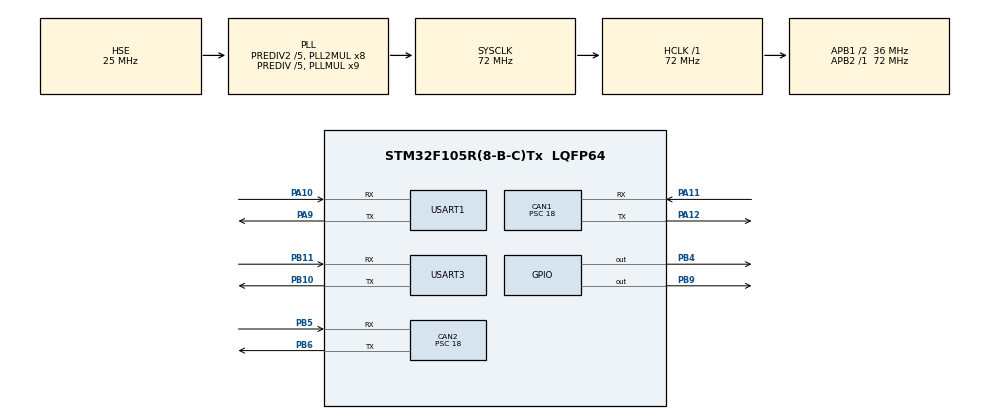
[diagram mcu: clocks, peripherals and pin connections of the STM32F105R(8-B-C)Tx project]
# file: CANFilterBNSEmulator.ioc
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CAN1.BS1=CAN_BS1_16TQ
CAN1.BS2=CAN_BS2_7TQ
CAN1.CalculateBaudRate=83333
CAN1.CalculateTimeBit=12000
CAN1.CalculateTimeQuantum=500.0
CAN1.Prescaler=18
CAN2.BS1=CAN_BS1_16TQ
CAN2.BS2=CAN_BS2_7TQ
CAN2.CalculateBaudRate=83333
CAN2.CalculateTimeBit=12000
CAN2.CalculateTimeQuantum=500.0
CAN2.Prescaler=18
Mcu.Family=STM32F1
Mcu.Name=STM32F105R(8-B-C)Tx
Mcu.Package=LQFP64
NVIC.PriorityGroup=NVIC_PRIORITYGROUP_0
PA10.Mode=Asynchronous
PA10.Signal=USART1_RX
PA11.GPIO_PuPd=GPIO_PULLUP
PA11.Mode=CAN_Activate
PA11.Signal=CAN1_RX
PA12.Mode=CAN_Activate
PA12.Signal=CAN1_TX
PA13.Mode=Serial_Wire
PA13.Signal=SYS_JTMS-SWDIO
PA14.Mode=Serial_Wire
PA14.Signal=SYS_JTCK-SWCLK
PA9.Mode=Asynchronous
PA9.Signal=USART1_TX
PB10.Mode=Asynchronous
PB10.Signal=USART3_TX
PB11.Mode=Asynchronous
PB11.Signal=USART3_RX
PB4.Signal=GPIO_Output
PB5.GPIO_PuPd=GPIO_PULLUP
PB5.Mode=CAN_Activate
PB5.Signal=CAN2_RX
PB6.Mode=CAN_Activate
PB6.Signal=CAN2_TX
PB9.Signal=GPIO_Output
PD0-OSC_IN.Mode=HSE-External-Oscillator
PD0-OSC_IN.Signal=RCC_OSC_IN
PD1-OSC_OUT.Mode=HSE-External-Oscillator
PD1-OSC_OUT.Signal=RCC_OSC_OUT
ProjectManager.HeapSize=0x200
ProjectManager.StackSize=0x400
ProjectManager.TargetToolchain=STM32CubeIDE
RCC.AHBFreq_Value=72000000
RCC.APB1CLKDivider=RCC_HCLK_DIV2
RCC.APB1Freq_Value=36000000
RCC.APB1TimFreq_Value=72000000
RCC.APB2Freq_Value=72000000
RCC.APB2TimFreq_Value=72000000
RCC.HCLKFreq_Value=72000000
RCC.HSEDivPLL=RCC_HSE_PREDIV_DIV5
RCC.HSE_VALUE=25000000
RCC.PLLMUL=RCC_PLL_MUL9
RCC.PLLSourceVirtual=RCC_PLLSOURCE_HSE
RCC.Prediv1Source=RCC_PREDIV1_SOURCE_PLL2
RCC.Prediv2=RCC_HSE_PREDIV2_DIV5
RCC.SYSCLKFreq_VALUE=72000000
RCC.SYSCLKSource=RCC_SYSCLKSOURCE_PLLCLK
RCC.USBFreq_Value=48000000
USART1.VirtualMode=VM_ASYNC
USART3.VirtualMode=VM_ASYNC
board=custom

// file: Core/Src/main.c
/* USER CODE BEGIN Header */
/**
  ******************************************************************************
  * @file           : main.c
  * @brief          : Main program body
  ******************************************************************************
  * @attention
  *
  * Copyright (c) 2024 STMicroelectronics.
  * All rights reserved.</center></h2>
  *
  * This software component is licensed by ST under BSD 3-Clause license,
  * the "License"; You may not use this file except in compliance with the
  * License. You may obtain a copy of the License at:
  *                        opensource.org/licenses/BSD-3-Clause
  *
  ******************************************************************************
  */
/* USER CODE END Header */
#include "main.h"

/* USER CODE BEGIN Includes */
#include <string.h>
#include "canloop.h"
/* USER CODE END Includes */

/* USER CODE BEGIN PD */

#define BOARD_VARIANT_BLACK         0
#define BOARD_VARIANT_BLUE          1
#define BOARD_VARIANT_GREEN         2
#define BOARD_VARIANT_SMALL_GREEN   3
#define UNKNOWN_BOARD               0xff

/* USER CODE END PD */

CAN_HandleTypeDef hcan1;
CAN_HandleTypeDef hcan2;

UART_HandleTypeDef huart1;
UART_HandleTypeDef huart3;

/* USER CODE BEGIN PV */
uint8_t                 board_variant = UNKNOWN_BOARD;
uint16_t                led_pin       = GPIO_PIN_NONE;
uint8_t                 usart         = 1;
uint32_t                usart3_gpio   = 0;
UART_HandleTypeDef*     huart         = &huart1;
/* USER CODE END PV */

void SystemClock_Config(void);
static void MX_GPIO_Init(void);
static void MX_CAN1_Init(void);
static void MX_CAN2_Init(void);
static void MX_USART3_UART_Init(void);
static void MX_USART1_UART_Init(void);

/* USER CODE BEGIN 0 */

//-------------------------------------------------------------------------
// BlackBoard:
// Optionally install an LED on PB4 (Labelled V8 on back of board)
// UART3 on PB10(TX) and PB11(RX)
// CAN1 requires clearing these (Because GD32F105)
//  CLEAR_BIT(hcan->Instance->MCR, CAN_MCR_SLEEP);
//  CLEAR_BIT(hcan->Instance->MCR, CAN_MCR_DBF);
// Power consumption: 54mA in sleep mode
//                    64mA when active
//-------------------------------------------------------------------------
// Blue board:
// UART3 on PC10(TX) and PC11(RX)
// Power consumption: 69mA in sleep mode (with FTDI attached)
//                    89mA when active   (with FTDI attached)
//-------------------------------------------------------------------------
// GreenBoard:
// UART1 on PA9(TX) and PA10(RX)
// Power consumption: 18mA in sleep mode
//                    38mA when active
//-------------------------------------------------------------------------
// SmallGreen:
// LED on PB9
// UART1 on PA9(TX) and PA10(RX)
// Power consumption: 18mA in sleep mode (Yes, same as large green)
//                    38mA when active
//-------------------------------------------------------------------------
uint32_t board_variants[4][3] = {
  {0x42319f17, 0x03323033, 0x3032334c}, // BOARD_VARIANT_BLACK - Verified CAN and USART3
  {0x05d8ff39, 0x38365548, 0x43213544}, // BOARD_VARIANT_BLUE - Verified CAN and USART3
  {0x05d8ff36, 0x37325553, 0x43184563}, // BOARD_VARIANT_GREEN - Verified CAN and USART1
  {0x05d5ff30, 0x38374250, 0x43024338}  // BOARD_VARIANT_SMALL_GREEN - Verified
};

char board_variant_names[4][16] = {
  "Black",
  "Blue",
  "Green",
  "Small Green"
};

uint8_t GetBoardVariant(void) {
  uint32_t unique_id[3];
  unique_id[0] = *(uint32_t*)(0x1FFFF7E8); // UID 31:0
  unique_id[1] = *(uint32_t*)(0x1FFFF7EC); // UID 63:32
  unique_id[2] = *(uint32_t*)(0x1FFFF7F0); // UID 95:64
  sendDebugMsg("UniqueID: %08x %08x %08x \r\n", unique_id[0], unique_id[1], unique_id[2]);

  for (uint8_t i = 0; i < sizeof(board_variants) / sizeof(board_variants[0]); i++) {
    if (unique_id[0] == board_variants[i][0] &&
        unique_id[1] == board_variants[i][1] &&
        unique_id[2] == board_variants[i][2]) {
      sendDebugMsg( "Board variant: %s\r\n", board_variant_names[i]);
      return i; // Return the matching variant index
    }
  }
  sendDebugMsg( "Unable to determine the board variant. Defaulting to %s settings.\r\n", board_variant_names[BOARD_VARIANT_SMALL_GREEN]);
  return BOARD_VARIANT_SMALL_GREEN;
}
/* USER CODE END 0 */

int main(void)
{

  /* USER CODE BEGIN 1 */

  board_variant = GetBoardVariant();
  switch (board_variant) {
    case BOARD_VARIANT_BLACK:
      usart         = 3;
      huart         = &huart3;
      usart3_gpio   = GPIOB_BASE;
      led_pin       = GPIO_PIN_4; // Must be installed by end user
      break;
    case BOARD_VARIANT_BLUE:
      usart         = 3;
      huart         = &huart3;
      usart3_gpio   = GPIOC_BASE;
      led_pin       = GPIO_PIN_NONE;
      break;
    case BOARD_VARIANT_GREEN:
      usart         = 1;
      huart         = &huart1;
      usart3_gpio   = 0;
      led_pin       = GPIO_PIN_NONE;
      break;
    case BOARD_VARIANT_SMALL_GREEN:
      usart         = 1;
      huart         = &huart1;
      usart3_gpio   = 0;
      led_pin       = GPIO_PIN_9; // Prepopulated by manufacturer
      break;
    default: // Defaults to same as SMALL GREEN if unknown
      usart         = 1;
      huart         = &huart1;
      usart3_gpio   = 0;
      led_pin       = GPIO_PIN_9;
      break;
  }

  /* USER CODE END 1 */

  /* MCU Configuration--------------------------------------------------------*/

  /* Reset of all peripherals, Initializes the Flash interface and the Systick. */
  HAL_Init();

  /* Configure the system clock */
  SystemClock_Config();

  /* Initialize all configured peripherals */
  MX_GPIO_Init();
  MX_USART1_UART_Init();
  MX_USART3_UART_Init();
  MX_CAN1_Init();
  MX_CAN2_Init();

  /* Infinite loop */
  /* USER CODE BEGIN WHILE */
  canloop();

  while (1)
  {
    /* USER CODE END WHILE */

  }
}

void SystemClock_Config(void)
{
  RCC_OscInitTypeDef RCC_OscInitStruct = {0};
  RCC_ClkInitTypeDef RCC_ClkInitStruct = {0};

  /** Initializes the RCC Oscillators according to the specified parameters
  * in the RCC_OscInitTypeDef structure.
  */
  RCC_OscInitStruct.OscillatorType = RCC_OSCILLATORTYPE_HSE;
  RCC_OscInitStruct.HSEState = RCC_HSE_ON;
  RCC_OscInitStruct.HSEPredivValue = RCC_HSE_PREDIV_DIV5;
  RCC_OscInitStruct.HSIState = RCC_HSI_ON;
  RCC_OscInitStruct.Prediv1Source = RCC_PREDIV1_SOURCE_PLL2;
  RCC_OscInitStruct.PLL.PLLState = RCC_PLL_ON;
  RCC_OscInitStruct.PLL.PLLSource = RCC_PLLSOURCE_HSE;
  RCC_OscInitStruct.PLL.PLLMUL = RCC_PLL_MUL9;
  RCC_OscInitStruct.PLL2.PLL2State = RCC_PLL2_ON;
  RCC_OscInitStruct.PLL2.PLL2MUL = RCC_PLL2_MUL8;
  RCC_OscInitStruct.PLL2.HSEPrediv2Value = RCC_HSE_PREDIV2_DIV5;
  if (HAL_RCC_OscConfig(&RCC_OscInitStruct) != HAL_OK)
  {
    Error_Handler();
  }

  /** Initializes the CPU, AHB and APB buses clocks
  */
  RCC_ClkInitStruct.ClockType = RCC_CLOCKTYPE_HCLK|RCC_CLOCKTYPE_SYSCLK
                              |RCC_CLOCKTYPE_PCLK1|RCC_CLOCKTYPE_PCLK2;
  RCC_ClkInitStruct.SYSCLKSource = RCC_SYSCLKSOURCE_PLLCLK;
  RCC_ClkInitStruct.AHBCLKDivider = RCC_SYSCLK_DIV1;
  RCC_ClkInitStruct.APB1CLKDivider = RCC_HCLK_DIV2;
  RCC_ClkInitStruct.APB2CLKDivider = RCC_HCLK_DIV1;

  if (HAL_RCC_ClockConfig(&RCC_ClkInitStruct, FLASH_LATENCY_2) != HAL_OK)
  {
    Error_Handler();
  }

  /** Configure the Systick interrupt time
  */
  __HAL_RCC_PLLI2S_ENABLE();
}

static void MX_CAN1_Init(void)
{

  /* USER CODE BEGIN CAN1_Init 0 */
  // Konfig taken from: https://www.elektronik-keller.de/index.php/projekte/stm32/29-stm32cubemx-stm32-can
  /* USER CODE END CAN1_Init 0 */

  /* USER CODE BEGIN CAN1_Init 1 */
  CAN_FilterTypeDef sFilterConfig;
  /* USER CODE END CAN1_Init 1 */
  hcan1.Instance = CAN1;
  hcan1.Init.Prescaler = 18;
  hcan1.Init.Mode = CAN_MODE_NORMAL;
  hcan1.Init.SyncJumpWidth = CAN_SJW_1TQ;
  hcan1.Init.TimeSeg1 = CAN_BS1_16TQ;
  hcan1.Init.TimeSeg2 = CAN_BS2_7TQ;
  hcan1.Init.TimeTriggeredMode = DISABLE;
  hcan1.Init.AutoBusOff = DISABLE;
  hcan1.Init.AutoWakeUp = DISABLE;
  hcan1.Init.AutoRetransmission = DISABLE;
  hcan1.Init.ReceiveFifoLocked = DISABLE;
  hcan1.Init.TransmitFifoPriority = DISABLE;
  if (HAL_CAN_Init(&hcan1) != HAL_OK)
  {
    sendDebugMsg("CAN1 Init failed\r\n");
    Error_Handler();
  } else {
    sendDebugMsg("CAN1 Init OK\r\n");
  }
  /* USER CODE BEGIN CAN1_Init 2 */
  sFilterConfig.FilterBank = 0;
  sFilterConfig.FilterMode = CAN_FILTERMODE_IDMASK;
  sFilterConfig.FilterScale = CAN_FILTERSCALE_32BIT;
  sFilterConfig.FilterIdHigh = 0x0000;
  sFilterConfig.FilterIdLow = 0x0000;
  sFilterConfig.FilterMaskIdHigh = 0x0000;
  sFilterConfig.FilterMaskIdLow = 0x0000;
  sFilterConfig.FilterFIFOAssignment = CAN_RX_FIFO0;
  sFilterConfig.FilterActivation = ENABLE;
  sFilterConfig.SlaveStartFilterBank = 14;

  if (HAL_CAN_ConfigFilter(&hcan1, &sFilterConfig) != HAL_OK) {
    /* Filter configuration Error */
    Error_Handler();
  }

  if (HAL_CAN_Start(&hcan1) != HAL_OK) {
    /* Start Error */
    Error_Handler();
  }
  /* USER CODE END CAN1_Init 2 */

}

static void MX_CAN2_Init(void)
{

  /* USER CODE BEGIN CAN2_Init 0 */
#if ENABLE_CAN_2 == 1
  CAN_FilterTypeDef sFilterConfig;
  /* USER CODE END CAN2_Init 0 */

  hcan2.Instance = CAN2;
  hcan2.Init.Prescaler = 18;
  hcan2.Init.Mode = CAN_MODE_NORMAL;
  hcan2.Init.SyncJumpWidth = CAN_SJW_1TQ;
  hcan2.Init.TimeSeg1 = CAN_BS1_16TQ;
  hcan2.Init.TimeSeg2 = CAN_BS2_7TQ;
  hcan2.Init.TimeTriggeredMode = DISABLE;
  hcan2.Init.AutoBusOff = DISABLE;
  hcan2.Init.AutoWakeUp = DISABLE;
  hcan2.Init.AutoRetransmission = DISABLE;
  hcan2.Init.ReceiveFifoLocked = DISABLE;
  hcan2.Init.TransmitFifoPriority = DISABLE;
  if (HAL_CAN_Init(&hcan2) != HAL_OK)
  {
    Error_Handler();
  }
  /* USER CODE BEGIN CAN2_Init 2 */
  sFilterConfig.FilterBank = 15;
  sFilterConfig.FilterMode = CAN_FILTERMODE_IDMASK;
  sFilterConfig.FilterScale = CAN_FILTERSCALE_32BIT;
  sFilterConfig.FilterIdHigh = 0x0000;
  sFilterConfig.FilterIdLow = 0x0000;
  sFilterConfig.FilterMaskIdHigh = 0x0000;
  sFilterConfig.FilterMaskIdLow = 0x0000;
  sFilterConfig.FilterFIFOAssignment = CAN_RX_FIFO1;
  sFilterConfig.FilterActivation = ENABLE;
  sFilterConfig.SlaveStartFilterBank = 15;

  if (HAL_CAN_ConfigFilter(&hcan2, &sFilterConfig) != HAL_OK) {
    /* Filter configuration Error */
    Error_Handler();
  }

  if (HAL_CAN_Start(&hcan2) != HAL_OK) {
    /* Start Error */
    Error_Handler();
  }
#endif
  /* USER CODE END CAN2_Init 2 */

}

static void MX_USART1_UART_Init(void)
{

  /* USER CODE BEGIN USART1_Init 0 */
  if (usart != 1) {
    return;
  }
  /* USER CODE END USART1_Init 0 */

  huart1.Instance = USART1;
  huart1.Init.BaudRate = 115200;
  huart1.Init.WordLength = UART_WORDLENGTH_8B;
  huart1.Init.StopBits = UART_STOPBITS_1;
  huart1.Init.Parity = UART_PARITY_NONE;
  huart1.Init.Mode = UART_MODE_TX_RX;
  huart1.Init.HwFlowCtl = UART_HWCONTROL_NONE;
  huart1.Init.OverSampling = UART_OVERSAMPLING_16;
  if (HAL_UART_Init(&huart1) != HAL_OK)
  {
    Error_Handler();
  }

}

static void MX_USART3_UART_Init(void)
{

  /* USER CODE BEGIN USART3_Init 0 */
  if (usart != 3) {
    return;
  }
  /* USER CODE END USART3_Init 0 */

  huart3.Instance = USART3;
  huart3.Init.BaudRate = 115200;
  huart3.Init.WordLength = UART_WORDLENGTH_8B;
  huart3.Init.StopBits = UART_STOPBITS_1;
  huart3.Init.Parity = UART_PARITY_NONE;
  huart3.Init.Mode = UART_MODE_TX_RX;
  huart3.Init.HwFlowCtl = UART_HWCONTROL_NONE;
  huart3.Init.OverSampling = UART_OVERSAMPLING_16;
  if (HAL_UART_Init(&huart3) != HAL_OK)
  {
    Error_Handler();
  }

}

static void MX_GPIO_Init(void)
{
  GPIO_InitTypeDef GPIO_InitStruct = {0};

  /* GPIO Ports Clock Enable */
  __HAL_RCC_GPIOB_CLK_ENABLE(); // CAN2 & USART3 (black) & LED GPIO (small green)

  /*Configure GPIO pin Output Level */
  if (led_pin != GPIO_PIN_NONE) {
    HAL_GPIO_WritePin(GPIOB, led_pin, GPIO_PIN_RESET);

    /*Configure GPIO pins : PB4 PB9 */
    GPIO_InitStruct.Pin = led_pin;
    GPIO_InitStruct.Mode = GPIO_MODE_OUTPUT_PP;
    GPIO_InitStruct.Pull = GPIO_NOPULL;
    GPIO_InitStruct.Speed = GPIO_SPEED_FREQ_LOW;
    HAL_GPIO_Init(GPIOB, &GPIO_InitStruct);

    HAL_GPIO_WritePin(GPIOB, led_pin, GPIO_PIN_SET); // Initially the LED is on
  }

}

/* USER CODE BEGIN 4 */
void EnterSleepMode(void) {
  sendDebugMsg("Entering low power mode\r\n");

  // Turn off the LED and de-initialize the GPIO pin
  if (led_pin != GPIO_PIN_NONE) {
    HAL_GPIO_WritePin(GPIOB, led_pin, GPIO_PIN_RESET);
    HAL_GPIO_DeInit(GPIOB, led_pin);
    __HAL_RCC_GPIOB_CLK_DISABLE();
  }

  // Power off and de-initialize the UART
  if (usart == 1) {
    HAL_UART_DeInit(&huart1);
    __HAL_RCC_USART1_CLK_DISABLE();
  } else if (usart == 3) {
    HAL_UART_DeInit(&huart3);
    __HAL_RCC_USART3_CLK_DISABLE();
  }
}

void ExitSleepMode(void) {
  // Re-enable the GPIOB clock and re-initialize the GPIO pin
  __HAL_RCC_GPIOB_CLK_ENABLE();
  MX_GPIO_Init();

  // Re-enable USART1 clock and re-initialize the UART
  if (usart == 1) {
    __HAL_RCC_USART1_CLK_ENABLE();
    MX_USART1_UART_Init();
  } else if (usart == 3) {
    __HAL_RCC_USART3_CLK_ENABLE();
    MX_USART3_UART_Init();
  }

  sendDebugMsg("Exited low power mode\r\n");
}
/* USER CODE END 4 */

void Error_Handler(void)
{
}
